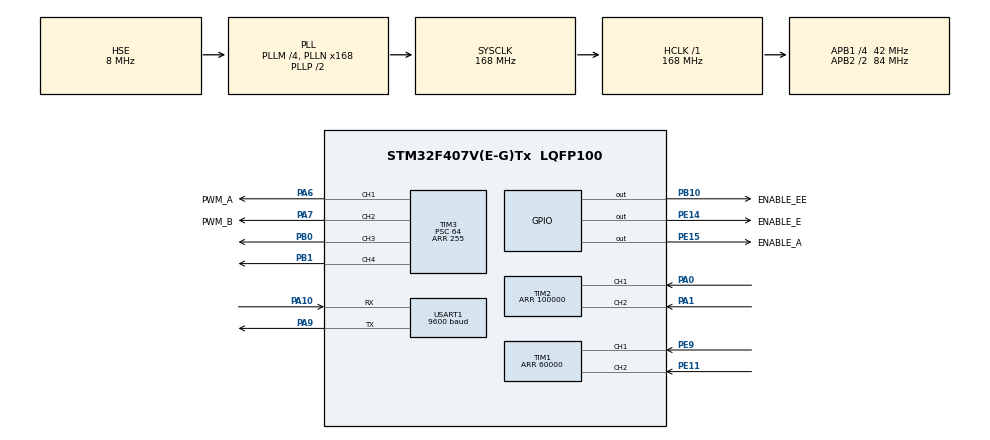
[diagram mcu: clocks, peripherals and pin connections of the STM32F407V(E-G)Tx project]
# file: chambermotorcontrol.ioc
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Mcu.Family=STM32F4
Mcu.Name=STM32F407V(E-G)Tx
Mcu.Package=LQFP100
NVIC.PriorityGroup=NVIC_PRIORITYGROUP_4
NVIC.USART1_IRQn=true\:0\:0\:false\:false\:true\:true\:true\:true
PA0-WKUP.Signal=S_TIM2_CH1_ETR
PA1.Signal=S_TIM2_CH2
PA10.Mode=Asynchronous
PA10.Signal=USART1_RX
PA13.Mode=Serial_Wire
PA13.Signal=SYS_JTMS-SWDIO
PA14.Mode=Serial_Wire
PA14.Signal=SYS_JTCK-SWCLK
PA6.GPIO_Label=PWM_A
PA6.Signal=S_TIM3_CH1
PA7.GPIO_Label=PWM_B
PA7.Signal=S_TIM3_CH2
PA9.Mode=Asynchronous
PA9.Signal=USART1_TX
PB0.Signal=S_TIM3_CH3
PB1.Signal=S_TIM3_CH4
PB10.GPIO_Label=ENABLE_EE
PB10.Signal=GPIO_Output
PE11.Signal=S_TIM1_CH2
PE14.GPIO_Label=ENABLE_E
PE14.Signal=GPIO_Output
PE15.GPIO_Label=ENABLE_A
PE15.Signal=GPIO_Output
PE9.Signal=S_TIM1_CH1
PH0-OSC_IN.Mode=HSE-External-Oscillator
PH0-OSC_IN.Signal=RCC_OSC_IN
PH1-OSC_OUT.Mode=HSE-External-Oscillator
PH1-OSC_OUT.Signal=RCC_OSC_OUT
ProjectManager.HeapSize=0x200
ProjectManager.StackSize=0x400
ProjectManager.TargetToolchain=STM32CubeIDE
RCC.48MHZClocksFreq_Value=48000000
RCC.AHBFreq_Value=168000000
RCC.APB1CLKDivider=RCC_HCLK_DIV4
RCC.APB1Freq_Value=42000000
RCC.APB1TimFreq_Value=84000000
RCC.APB2CLKDivider=RCC_HCLK_DIV2
RCC.APB2Freq_Value=84000000
RCC.APB2TimFreq_Value=168000000
RCC.CortexFreq_Value=168000000
RCC.HCLKFreq_Value=168000000
RCC.HSE_VALUE=8000000
RCC.HSI_VALUE=16000000
RCC.LSE_VALUE=32768
RCC.PLLM=4
RCC.PLLN=168
RCC.PLLQ=7
RCC.PLLSourceVirtual=RCC_PLLSOURCE_HSE
RCC.SYSCLKFreq_VALUE=168000000
RCC.SYSCLKSource=RCC_SYSCLKSOURCE_PLLCLK
RCC.VCOOutputFreq_Value=336000000
SH.S_TIM1_CH1.0=TIM1_CH1,Encoder_Interface
SH.S_TIM1_CH2.0=TIM1_CH2,Encoder_Interface
SH.S_TIM2_CH1_ETR.0=TIM2_CH1,Encoder_Interface
SH.S_TIM2_CH2.0=TIM2_CH2,Encoder_Interface
SH.S_TIM3_CH1.0=TIM3_CH1,PWM Generation1 CH1
SH.S_TIM3_CH2.0=TIM3_CH2,PWM Generation2 CH2
SH.S_TIM3_CH3.0=TIM3_CH3,PWM Generation3 CH3
SH.S_TIM3_CH4.0=TIM3_CH4,PWM Generation4 CH4
TIM1.EncoderMode=TIM_ENCODERMODE_TI12
TIM1.IC1Filter=15
TIM1.IC2Filter=15
TIM1.Period=60000
TIM2.ClockDivision=TIM_CLOCKDIVISION_DIV1
TIM2.EncoderMode=TIM_ENCODERMODE_TI12
TIM2.IC1Filter=15
TIM2.IC2Filter=15
TIM2.Period=100000
TIM3.Channel-PWM\ Generation1\ CH1=TIM_CHANNEL_1
TIM3.Channel-PWM\ Generation2\ CH2=TIM_CHANNEL_2
TIM3.Channel-PWM\ Generation3\ CH3=TIM_CHANNEL_3
TIM3.Channel-PWM\ Generation4\ CH4=TIM_CHANNEL_4
TIM3.Period=255
TIM3.Prescaler=64
USART1.BaudRate=9600
USART1.VirtualMode=VM_ASYNC
VP_TIM3_VS_ClockSourceINT.Mode=Internal
board=custom

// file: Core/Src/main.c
/* USER CODE BEGIN Header */
/**
  ******************************************************************************
  * @file           : main.c
  * @brief          : Main program body
  ******************************************************************************
  * @attention
  *
  * Copyright (c) 2024 STMicroelectronics.
  * All rights reserved.
  *
  * This software is licensed under terms that can be found in the LICENSE file
  * in the root directory of this software component.
  * If no LICENSE file comes with this software, it is provided AS-IS.
  *
  ******************************************************************************
  */
/* USER CODE END Header */
#include "main.h"

/* USER CODE BEGIN Includes */
#include "firmware_version.h"
#include "globalvars.h"
#include <math.h>
#include <stdbool.h>
#include <stdio.h>
#include <string.h>

/* USER CODE END Includes */

TIM_HandleTypeDef htim1;
TIM_HandleTypeDef htim2;
TIM_HandleTypeDef htim3;

UART_HandleTypeDef huart1;

/* USER CODE BEGIN PV */

/** Maximum command payload length before the terminating semicolon. */
enum { RECEIVE_FRAME_CAPACITY = 64 };

/** Motor axis identifiers used by driveAxis(). */
typedef enum
{
    AXIS_PAN = 1,
    AXIS_TILT = 2
} MotorAxis;

/** Direction relative to increasing or decreasing encoder counts. */
typedef enum
{
    DIRECTION_DECREASING,
    DIRECTION_INCREASING
} MotorDirection;

/** Command variants recognized after UART framing removes the semicolon. */
typedef enum
{
    COMMAND_UNKNOWN,
    COMMAND_SET,
    COMMAND_MOV,
    COMMAND_MOV_CNT,
    COMMAND_SET_CNT,
    COMMAND_VERSION,
    COMMAND_CNT
} CommandType;

/** Latest pan encoder sample. */
static uint32_t panPositionCounter = 0;

/** Latest tilt encoder sample. */
static uint32_t tiltPositionCounter = 0;

/** Latest pan position converted from the encoder sample. */
static float panPositionDegrees = 0.0f;

/** Latest tilt position converted from the encoder sample. */
static float tiltPositionDegrees = 0.0f;

/** PWM compare value currently requested for the pan motor. */
static int panPwmPowerLevel = INITIAL_PWM_POWER_LEVEL;

/** PWM compare value currently requested for the tilt motor. */
static int tiltPwmPowerLevel = INITIAL_PWM_POWER_LEVEL;

/** Most recently accepted pan movement command, retained for legacy reporting. */
static float commandedPanDegrees = 0.0f;

/** Most recently accepted tilt movement command, retained for legacy reporting. */
static float commandedTiltDegrees = 0.0f;

/** Active pan target used by the motor controller. */
static float targetPanDegrees = 0.0f;

/** Active tilt target used by the motor controller. */
static float targetTiltDegrees = 0.0f;

/** True while an accepted movement command is active. */
static bool movementActive = false;

/** HAL tick when the current movement command began. */
static uint32_t movementStartedTick = 0U;

/** True when pan is within TARGET_TOLERANCE_DEG of its target. */
static bool panTargetReached = false;

/** True when tilt is within TARGET_TOLERANCE_DEG of its target. */
static bool tiltTargetReached = false;

/** Bytes accumulated for the frame currently arriving over UART. */
static char receiveFrameBuffer[RECEIVE_FRAME_CAPACITY];

/** Completed command plus one byte for its C string terminator. */
static char pendingCommandBuffer[sizeof(receiveFrameBuffer) + 1U];

/** Number of payload bytes currently stored in receiveFrameBuffer. */
static int receiveFrameLength = 0;

/**
 * Command state shared with the UART ISR: 0 for none, 1 for ready, and -1 for
 * an oversized frame. Volatile is required because the ISR changes it.
 */
static volatile int pendingCommandState = 0;

/** Latest byte received by the interrupt-driven UART reader. */
static uint8_t receivedByte = 0;

/** True while ignoring an oversized frame until its terminating semicolon. */
static bool discardingOversizedFrame = false;

/** Number of complete frames rejected because another command was pending. */
static volatile uint32_t rejectedFrameCount = 0;

/** Number of interrupted or oversized frames awaiting a parse-failure NAK. */
static volatile uint32_t unableToParseFrameCount = 0;

/** Generation counter used to invalidate commands copied before a stop byte. */
static volatile uint32_t stopGeneration = 0;

/** Number of emergency-stop acknowledgements awaiting transmission. */
static volatile uint32_t emergencyStopAcknowledgementCount = 0;

/** Previous pan encoder sample used for discontinuity detection. */
static uint32_t previousPanCounter = 0;

/** Previous tilt encoder sample used for discontinuity detection. */
static uint32_t previousTiltCounter = 0;

/** True after the discontinuity detector has captured its first baseline. */
static bool positionDiscontinuityBaselineValid = false;

/** Exact VERSION response assembled from the canonical firmware version. */
static const char firmwareVersionMessage[] = "MSG:VERSION:" FIRMWARE_VERSION ";\r\n";

/** Exact fail-safe report sent after an implausible encoder jump. */
static const char positionDiscontinuityMessage[] = "MSG:ERR:POSITION_DISCONTINUITY;\r\n";

/** Exact fail-safe report sent when movement exceeds its deadline. */
static const char movementTimeoutMessage[] = "MSG:ERR:MOVEMENT_TIMEOUT;\r\n";

/** Exact fail-safe report sent when a commanded axis stops changing. */
static const char movementStalledMessage[] = "MSG:ERR:MOVEMENT_STALLED;\r\n";

/** Pan encoder counter captured by the previous movement-progress check. */
static uint32_t panCounterAtLastMovementCheck = 0U;

/** Tilt encoder counter captured by the previous movement-progress check. */
static uint32_t tiltCounterAtLastMovementCheck = 0U;

/** HAL tick when the next movement-progress check is due. */
static uint32_t nextMovementCheckTick = 0U;
/* USER CODE END PV */

void SystemClock_Config(void);
static void MX_GPIO_Init(void);
static void MX_TIM1_Init(void);
static void MX_TIM2_Init(void);
static void MX_TIM3_Init(void);
static void MX_USART1_UART_Init(void);
/* USER CODE BEGIN PFP */

static void delayMilliseconds(uint32_t milliseconds);
static void enablePanMotor(void);
static void disablePanMotor(void);
static void enableTiltMotor(void);
static void disableTiltMotor(void);
static void sendData(const char *data, int size);
static void sendAcknowledgement(const char *command, bool accepted, const char *reason);
static bool counterChangeExceeds(uint32_t current, uint32_t previous, uint32_t maximumChange);
static float panCounterToDegrees(uint32_t counter);
static uint32_t panDegreesToCounter(float degrees);
static float tiltCounterToDegrees(uint32_t counter);
static uint32_t tiltDegreesToCounter(float degrees);
static bool isAsciiDigit(char character);
static int parseWireNumber(const char *text, float *parsedValue);
static int parseCounterNumber(const char *text, uint32_t *parsedValue);
static bool parseCommandCoordinates(const char *input, const char *expectedPrefix, float *pan, float *tilt);
static bool parseMoveCommand(const char *input, float *pan, float *tilt);
static bool parseSetCommand(const char *input, float *pan, float *tilt);
static bool parseCounterCommand(
        const char *input,
        const char *expectedPrefix,
        uint32_t *panCounter,
        uint32_t *tiltCounter);
static bool commandTokenMatches(const char *input, const char *token);
static CommandType identifyCommandType(const char *input);
static const char *commandTypeName(CommandType commandType);
static void runMainLoopIteration(void);
static void driveAxis(MotorAxis axis, int pwmPowerLevel, MotorDirection direction);
static void updateMotorControl(void);
static void resetMovementStallWatchdog(uint32_t currentTick);

/* USER CODE END PFP */

/* USER CODE BEGIN 0 */

/**
 * @brief Consume one received UART byte and restart interrupt reception.
 *
 * The emergency-stop byte is handled before normal framing so stopping never
 * waits for the main loop. Complete commands remain stable until copied.
 */
void HAL_UART_RxCpltCallback(UART_HandleTypeDef *huart)
{
    (void)huart;

    if (receivedByte == '%')
    {
        if (pendingCommandState == 1 && rejectedFrameCount < UINT32_MAX)
        {
            rejectedFrameCount++;
        }
        if ((pendingCommandState == -1 || receiveFrameLength > 0 || discardingOversizedFrame) &&
                unableToParseFrameCount < UINT32_MAX)
        {
            unableToParseFrameCount++;
        }

        pendingCommandState = 0;
        stopGeneration++;
        if (emergencyStopAcknowledgementCount < UINT32_MAX)
        {
            emergencyStopAcknowledgementCount++;
        }

        movementActive = false;
        receivedByte = 0;
        disablePanMotor();
        disableTiltMotor();

        /* Bytes before a stop must never become part of the next command. */
        receiveFrameLength = 0;
        memset(receiveFrameBuffer, 0, sizeof(receiveFrameBuffer));
        memset(pendingCommandBuffer, 0, sizeof(pendingCommandBuffer));
        discardingOversizedFrame = false;
    }
    else if (discardingOversizedFrame)
    {
        /* An invalid frame remains discarded through its terminating semicolon. */
        if (receivedByte == ';')
        {
            discardingOversizedFrame = false;
            if (pendingCommandState == 0)
            {
                pendingCommandState = -1;
            }
            else if (rejectedFrameCount < UINT32_MAX)
            {
                rejectedFrameCount++;
            }
        }
    }
    else if (receivedByte == ';')
    {
        /* Do not overwrite a complete command before the main loop copies it. */
        if (pendingCommandState == 0)
        {
            memcpy(pendingCommandBuffer, receiveFrameBuffer, (size_t)receiveFrameLength);
            pendingCommandBuffer[receiveFrameLength] = '\0';
            pendingCommandState = 1;
        }
        else if (rejectedFrameCount < UINT32_MAX)
        {
            rejectedFrameCount++;
        }

        receiveFrameLength = 0;
        memset(receiveFrameBuffer, 0, sizeof(receiveFrameBuffer));
    }
    else if (receiveFrameLength >= (int)sizeof(receiveFrameBuffer))
    {
        /* Check before writing so an oversized frame cannot overflow the buffer. */
        receiveFrameLength = 0;
        memset(receiveFrameBuffer, 0, sizeof(receiveFrameBuffer));
        discardingOversizedFrame = true;
    }
    else
    {
        receiveFrameBuffer[receiveFrameLength] = (char)receivedByte;
        receiveFrameLength++;
    }

    receivedByte = 0;
    HAL_UART_Receive_IT(&huart1, &receivedByte, 1);
}

/** @brief Return true only for an ASCII decimal digit. */
static bool isAsciiDigit(char character)
{
    return character >= '0' && character <= '9';
}

/**
 * @brief Parse one canonical signed wire number with exactly three decimals.
 * @return The number of consumed characters, or -1 when malformed.
 */
static int parseWireNumber(const char *text, float *parsedValue)
{
    int index = 0;
    if (text[index] == '-')
    {
        index++;
    }

    int integerStart = index;
    while (isAsciiDigit(text[index]))
    {
        index++;
    }
    if (index == integerStart)
    {
        return -1;
    }

    if (text[index] != '.' ||
            !isAsciiDigit(text[index + 1]) ||
            !isAsciiDigit(text[index + 2]) ||
            !isAsciiDigit(text[index + 3]) ||
            isAsciiDigit(text[index + 4]))
    {
        return -1;
    }
    index += 4;

    float value = 0.0f;
    int convertedLength = 0;
    /* %n records how many characters sscanf consumed while parsing the float. */
    int convertedValueCount = sscanf(text, "%f%n", &value, &convertedLength);
    if (convertedValueCount != 1 || convertedLength != index || !isfinite(value))
    {
        return -1;
    }
    if (text[0] == '-' && value == 0.0f)
    {
        return -1;
    }

   *parsedValue = value;
    return index;
}

/**
 * @brief Parse one canonical unsigned decimal encoder count.
 * @return The number of consumed characters, or -1 when malformed or too large.
 */
static int parseCounterNumber(const char *text, uint32_t *parsedValue)
{
    int index = 0;
    uint32_t value = 0;

    if (!isAsciiDigit(text[index]) ||
            (text[index] == '0' && isAsciiDigit(text[index + 1])))
    {
        return -1;
    }

    while (isAsciiDigit(text[index]))
    {
        uint32_t digit = (uint32_t)(text[index] - '0');
        if (value > (UINT32_MAX - digit) / 10U)
        {
            return -1;
        }

        value = (value * 10U) + digit;
        index++;
    }

   *parsedValue = value;
    return index;
}

/** @brief Parse the two coordinates from a complete MOV or SET command. */
static bool parseCommandCoordinates(
        const char *input,
        const char *expectedPrefix,
        float *pan,
        float *tilt)
{
    size_t prefixLength = strlen(expectedPrefix);
    if (strncmp(input, expectedPrefix, prefixLength) != 0)
    {
        return false;
    }

    const char *coordinateText = input + prefixLength;
    float parsedPan = 0.0f;
    int panLength = parseWireNumber(coordinateText, &parsedPan);
    if (panLength < 0 || coordinateText[panLength] != ',')
    {
        return false;
    }

    const char *tiltText = coordinateText + panLength + 1;
    float parsedTilt = 0.0f;
    int tiltLength = parseWireNumber(tiltText, &parsedTilt);
    if (tiltLength < 0 || tiltText[tiltLength] != '\0')
    {
        return false;
    }

    /* Do not expose partially parsed coordinates after any parse failure. */
   *pan = parsedPan;
   *tilt = parsedTilt;
    return true;
}

/** @brief Parse an exact CMD:MOV coordinate payload. */
static bool parseMoveCommand(const char *input, float *pan, float *tilt)
{
    return parseCommandCoordinates(input, "CMD:MOV:", pan, tilt);
}

/** @brief Parse an exact CMD:SET coordinate payload. */
static bool parseSetCommand(const char *input, float *pan, float *tilt)
{
    return parseCommandCoordinates(input, "CMD:SET:", pan, tilt);
}

/** @brief Parse the exact PAN and TILT fields of a counter command. */
static bool parseCounterCommand(
        const char *input,
        const char *expectedPrefix,
        uint32_t *panCounter,
        uint32_t *tiltCounter)
{
    static const char expectedSeparator[] = ",TILT=";
    size_t prefixLength = strlen(expectedPrefix);

    if (strncmp(input, expectedPrefix, prefixLength) != 0)
    {
        return false;
    }

    const char *counterText = input + prefixLength;
    uint32_t parsedPan = 0;
    int panLength = parseCounterNumber(counterText, &parsedPan);
    if (panLength < 0 ||
            strncmp(counterText + panLength, expectedSeparator,
                            sizeof(expectedSeparator) - 1U) != 0)
    {
        return false;
    }

    const char *tiltText = counterText + panLength + sizeof(expectedSeparator) - 1U;
    uint32_t parsedTilt = 0;
    int tiltLength = parseCounterNumber(tiltText, &parsedTilt);
    if (tiltLength < 0 || tiltText[tiltLength] != '\0')
    {
        return false;
    }

   *panCounter = parsedPan;
   *tiltCounter = parsedTilt;
    return true;
}

/** @brief Return true when a command starts with one exact command token. */
static bool commandTokenMatches(const char *input, const char *token)
{
    static const char commandPrefix[] = "CMD:";
    size_t tokenLength = strlen(token);
    if (strncmp(input, commandPrefix, sizeof(commandPrefix) - 1U) != 0 ||
            strncmp(input + sizeof(commandPrefix) - 1U, token, tokenLength) != 0)
    {
        return false;
    }

    char nextCharacter = input[sizeof(commandPrefix) - 1U + tokenLength];
    return nextCharacter == ':' || nextCharacter == '\0';
}

/** @brief Identify the command token without accepting ambiguous prefixes. */
static CommandType identifyCommandType(const char *input)
{
    if (commandTokenMatches(input, "MOV_CNT"))
    {
        return COMMAND_MOV_CNT;
    }
    if (commandTokenMatches(input, "SET_CNT"))
    {
        return COMMAND_SET_CNT;
    }
    if (commandTokenMatches(input, "VERSION"))
    {
        return COMMAND_VERSION;
    }
    if (commandTokenMatches(input, "SET"))
    {
        return COMMAND_SET;
    }
    if (commandTokenMatches(input, "MOV"))
    {
        return COMMAND_MOV;
    }
    if (commandTokenMatches(input, "CNT"))
    {
        return COMMAND_CNT;
    }
    return COMMAND_UNKNOWN;
}

/** @brief Return the protocol token used in an acknowledgement. */
static const char *commandTypeName(CommandType commandType)
{
    switch (commandType)
    {
        case COMMAND_SET:
            return "SET";
        case COMMAND_MOV:
            return "MOV";
        case COMMAND_MOV_CNT:
            return "MOV_CNT";
        case COMMAND_SET_CNT:
            return "SET_CNT";
        case COMMAND_VERSION:
            return "VERSION";
        case COMMAND_CNT:
            return "CNT";
        default:
            return "UNKNOWN";
    }
}

/** @brief Delay execution for the requested number of milliseconds. */
static void delayMilliseconds(uint32_t milliseconds)
{
    HAL_Delay(milliseconds);
}

/** @brief Energize the pan motor driver. */
static void enablePanMotor(void)
{
    HAL_GPIO_WritePin(GPIOE, ENABLE_A_Pin, GPIO_PIN_SET);
}

/** @brief De-energize pan and clear both pan PWM channels. */
static void disablePanMotor(void)
{
    HAL_GPIO_WritePin(GPIOE, ENABLE_A_Pin, GPIO_PIN_RESET);
    TIM3->CCR1 = 0;
    TIM3->CCR2 = 0;
    panTargetReached = false;
}

/** @brief Energize both tilt motor-driver enable lines. */
static void enableTiltMotor(void)
{
    HAL_GPIO_WritePin(GPIOE, ENABLE_E_Pin, GPIO_PIN_SET);
    HAL_GPIO_WritePin(GPIOB, ENABLE_EE_Pin, GPIO_PIN_SET);
}

/** @brief De-energize tilt and clear both tilt PWM channels. */
static void disableTiltMotor(void)
{
    HAL_GPIO_WritePin(GPIOE, ENABLE_E_Pin, GPIO_PIN_RESET);
    HAL_GPIO_WritePin(GPIOB, ENABLE_EE_Pin, GPIO_PIN_RESET);
    TIM3->CCR4 = 0;
    TIM3->CCR3 = 0;
    tiltTargetReached = false;
}

/** @brief Transmit an exact byte range over the controller UART. */
static void sendData(const char *data, int size)
{
    HAL_UART_Transmit(
            &huart1,
            (uint8_t *)data,
            (uint16_t)size,
            UART_TRANSMIT_TIMEOUT_MS);
}

/** @brief Format and send an ACK or NAK for one command token. */
static void sendAcknowledgement(const char *command, bool accepted, const char *reason)
{
    char acknowledgement[RECEIVE_FRAME_CAPACITY];
    int acknowledgementLength;

    if (accepted)
    {
        acknowledgementLength = snprintf(
                acknowledgement,
                sizeof(acknowledgement),
                "MSG:ACK:%s;\r\n",
                command);
    }
    else
    {
        acknowledgementLength = snprintf(
                acknowledgement,
                sizeof(acknowledgement),
                "MSG:NAK:%s,%s;\r\n",
                command,
                reason);
    }

    if (acknowledgementLength > 0 &&
            acknowledgementLength < (int)sizeof(acknowledgement))
    {
        sendData(acknowledgement, acknowledgementLength);
    }
}

/** @brief Return true when two encoder samples differ by an unsafe amount. */
static bool counterChangeExceeds(
        uint32_t current,
        uint32_t previous,
        uint32_t maximumChange)
{
    uint32_t change = current >= previous ? current - previous : previous - current;
    return change > maximumChange;
}

/** @brief Convert a raw pan encoder count to firmware-relative degrees. */
static float panCounterToDegrees(uint32_t counter)
{
    return ((float)counter - (float)PAN_ZERO_DEGREE_COUNTER) / PAN_COUNTS_PER_DEGREE;
}

/** @brief Convert firmware-relative pan degrees to a raw encoder count. */
static uint32_t panDegreesToCounter(float degrees)
{
    return (uint32_t)((float)PAN_ZERO_DEGREE_COUNTER + (degrees * PAN_COUNTS_PER_DEGREE));
}

/** @brief Convert a raw tilt encoder count to firmware-relative degrees. */
static float tiltCounterToDegrees(uint32_t counter)
{
    return ((float)counter - (float)TILT_ZERO_DEGREE_COUNTER) / TILT_COUNTS_PER_DEGREE;
}

/** @brief Convert firmware-relative tilt degrees to a raw encoder count. */
static uint32_t tiltDegreesToCounter(float degrees)
{
    return (uint32_t)((float)TILT_ZERO_DEGREE_COUNTER + (degrees * TILT_COUNTS_PER_DEGREE));
}

/** @brief Execute one sample, command-processing, and reporting iteration. */
static void runMainLoopIteration(void)
{
    float setPanDegrees = 0.0f;
    float setTiltDegrees = 0.0f;
    char sendBuffer[RECEIVE_FRAME_CAPACITY];
    char commandToProcess[sizeof(pendingCommandBuffer)];
    bool commandAvailable = false;
    bool oversizedCommandAvailable = false;
    bool rejectedFrameAvailable = false;
    bool unableToParseFrameAvailable = false;
    bool emergencyStopAcknowledgementAvailable = false;
    bool positionDiscontinuityDetected = false;
    bool movementTimeoutDetected = false;
    bool movementStallDetected = false;
    uint32_t currentTick = HAL_GetTick();
    uint32_t copiedStopGeneration = 0;

    panPositionCounter = TIM2->CNT;
    tiltPositionCounter = TIM1->CNT;

    /* Any implausible encoder jump during motion immediately fails safe. */
    if (positionDiscontinuityBaselineValid && movementActive &&
            (counterChangeExceeds(
                      panPositionCounter,
                      previousPanCounter,
                      MAX_POSITION_CHANGE_COUNTS) ||
              counterChangeExceeds(
                      tiltPositionCounter,
                      previousTiltCounter,
                      MAX_POSITION_CHANGE_COUNTS)))
    {
        movementActive = false;
        disablePanMotor();
        disableTiltMotor();
        positionDiscontinuityDetected = true;
    }
    previousPanCounter = panPositionCounter;
    previousTiltCounter = tiltPositionCounter;
    positionDiscontinuityBaselineValid = true;

    panPositionDegrees = panCounterToDegrees(panPositionCounter);
    tiltPositionDegrees = tiltCounterToDegrees(tiltPositionCounter);
    bool panShouldMove =
            fabsf(panPositionDegrees - targetPanDegrees) > TARGET_TOLERANCE_DEG;
    bool tiltShouldMove =
            fabsf(tiltPositionDegrees - targetTiltDegrees) > TARGET_TOLERANCE_DEG;
    bool targetReachedAtCurrentSample = !panShouldMove && !tiltShouldMove;

    // Check if there is a stall.
    if (movementActive &&
            (int32_t)(currentTick - nextMovementCheckTick) >= 0)
    {
        bool panStalled = panShouldMove &&
                panPositionCounter == panCounterAtLastMovementCheck;
        bool tiltStalled = tiltShouldMove &&
                tiltPositionCounter == tiltCounterAtLastMovementCheck;

        panCounterAtLastMovementCheck = panPositionCounter;
        tiltCounterAtLastMovementCheck = tiltPositionCounter;
        nextMovementCheckTick = currentTick + MOVEMENT_STALL_CHECK_INTERVAL_MS;

        if (panStalled || tiltStalled)
        {
            movementActive = false;
            disablePanMotor();
            disableTiltMotor();
            movementStallDetected = true;
        }
    }
    delayMilliseconds(MAIN_LOOP_DELAY_MS);

    /* Keep this critical section short so the ISR can resume framing quickly. */
    __disable_irq();
    if (pendingCommandState == 1)
    {
        memcpy(commandToProcess, pendingCommandBuffer, sizeof(commandToProcess));
        pendingCommandState = 0;
        copiedStopGeneration = stopGeneration;
        commandAvailable = true;
    }
    else if (pendingCommandState == -1)
    {
        pendingCommandState = 0;
        oversizedCommandAvailable = true;
    }
    if (rejectedFrameCount > 0)
    {
        rejectedFrameCount--;
        rejectedFrameAvailable = true;
    }
    if (unableToParseFrameCount > 0)
    {
        unableToParseFrameCount--;
        unableToParseFrameAvailable = true;
    }
    if (emergencyStopAcknowledgementCount > 0)
    {
        emergencyStopAcknowledgementCount--;
        emergencyStopAcknowledgementAvailable = true;
    }
    __enable_irq();

    if (oversizedCommandAvailable)
    {
        sendAcknowledgement("UNKNOWN", false, "UNABLE_TO_PARSE");
    }
    if (emergencyStopAcknowledgementAvailable)
    {
        sendAcknowledgement("EMERGENCY_STOP", true, NULL);
    }
    if (rejectedFrameAvailable)
    {
        sendAcknowledgement("UNKNOWN", false, "REJECTED");
    }
    if (unableToParseFrameAvailable)
    {
        sendAcknowledgement("UNKNOWN", false, "UNABLE_TO_PARSE");
    }

    if (commandAvailable)
    {
        /* Parsed values remain local until the complete command can be applied. */
        float requestedPan = 0.0f;
        float requestedTilt = 0.0f;
        uint32_t panCounter = 0;
        uint32_t tiltCounter = 0;
        CommandType commandType = identifyCommandType(commandToProcess);
        bool commandParsed = false;
        bool commandRejected = false;

        switch (commandType)
        {
            case COMMAND_MOV:
                commandParsed = parseMoveCommand(commandToProcess, &requestedPan, &requestedTilt);
                commandRejected = commandParsed &&
                        (requestedPan < MIN_PAN_DEG || requestedPan > MAX_PAN_DEG ||
                          requestedTilt < MIN_TILT_DEG || requestedTilt > MAX_TILT_DEG);
                break;
            case COMMAND_SET:
                commandParsed = parseSetCommand(commandToProcess, &setPanDegrees, &setTiltDegrees);
                commandRejected = commandParsed &&
                        (setPanDegrees < MIN_PAN_DEG || setPanDegrees > MAX_PAN_DEG ||
                          setTiltDegrees < MIN_TILT_DEG || setTiltDegrees > MAX_TILT_DEG);
                break;
            case COMMAND_VERSION:
                commandParsed = strcmp(commandToProcess, "CMD:VERSION") == 0;
                break;
            case COMMAND_CNT:
                commandParsed = strcmp(commandToProcess, "CMD:CNT") == 0;
                break;
            case COMMAND_MOV_CNT:
                commandParsed = parseCounterCommand(
                        commandToProcess,
                        "CMD:MOV_CNT:PAN=",
                        &panCounter,
                        &tiltCounter);
                break;
            case COMMAND_SET_CNT:
                commandParsed = parseCounterCommand(
                        commandToProcess,
                        "CMD:SET_CNT:PAN=",
                        &panCounter,
                        &tiltCounter);
                break;
            default:
                break;
        }

        bool commandCancelled = false;
        bool sendCounterResponse = false;

        /* A stop received during parsing invalidates the copied command. */
        __disable_irq();
        if (copiedStopGeneration != stopGeneration)
        {
            commandCancelled = true;
        }
        else if (!commandParsed || commandRejected)
        {
            movementActive = false;
            disablePanMotor();
            disableTiltMotor();
        }
        else
        {
            switch (commandType)
            {
                case COMMAND_CNT:
                    panCounter = TIM2->CNT;
                    tiltCounter = TIM1->CNT;
                    sendCounterResponse = true;
                    break;
                case COMMAND_SET_CNT:
                    movementActive = false;
                    disablePanMotor();
                    disableTiltMotor();
                    TIM2->CNT = panCounter;
                    TIM1->CNT = tiltCounter;
                    panCounter = TIM2->CNT;
                    tiltCounter = TIM1->CNT;
                    previousPanCounter = panCounter;
                    previousTiltCounter = tiltCounter;
                    positionDiscontinuityBaselineValid = true;
                    sendCounterResponse = true;
                    break;
                case COMMAND_MOV_CNT:
                    requestedPan = panCounterToDegrees(panCounter);
                    requestedTilt = tiltCounterToDegrees(tiltCounter);
                    /* fall through */
                case COMMAND_MOV:
                {
                    bool movementTargetChanged = !movementActive ||
                            requestedPan != targetPanDegrees ||
                            requestedTilt != targetTiltDegrees;
                    commandedPanDegrees = requestedPan;
                    commandedTiltDegrees = requestedTilt;
                    panTargetReached = false;
                    tiltTargetReached = false;
                    movementActive = true;
                    targetPanDegrees = commandedPanDegrees;
                    targetTiltDegrees = commandedTiltDegrees;
                    panPwmPowerLevel = MAX_PWM_POWER_LEVEL;
                    tiltPwmPowerLevel = MAX_PWM_POWER_LEVEL;
                    if (movementTargetChanged)
                    {
                        movementStartedTick = currentTick;
                        resetMovementStallWatchdog(currentTick);
                    }
                    break;
                }
                case COMMAND_SET:
                    movementActive = false;
                    TIM1->CNT = tiltDegreesToCounter(setTiltDegrees);
                    TIM2->CNT = panDegreesToCounter(setPanDegrees);
                    previousPanCounter = TIM2->CNT;
                    previousTiltCounter = TIM1->CNT;
                    positionDiscontinuityBaselineValid = true;
                    break;
                default:
                    break;
            }
        }
        __enable_irq();

        bool commandAccepted = !commandCancelled && commandParsed && !commandRejected;
        if (commandAccepted)
        {
            sendAcknowledgement(commandTypeName(commandType), true, NULL);
        }
        else
        {
            const char *reason = commandRejected
                    ? "OUT_OF_BOUNDS"
                    : (commandCancelled ? "REJECTED" : "UNABLE_TO_PARSE");
            sendAcknowledgement(commandTypeName(commandType), false, reason);
        }

        if (commandAccepted && sendCounterResponse)
        {
            int counterMessageLength = snprintf(
                    sendBuffer,
                    sizeof(sendBuffer),
                    "MSG:CNT:PAN=%lu,TILT=%lu;\r\n",
                    (unsigned long)panCounter,
                    (unsigned long)tiltCounter);
            if (counterMessageLength > 0 && counterMessageLength < (int)sizeof(sendBuffer))
            {
                sendData(sendBuffer, counterMessageLength);
            }
        }
        else if (commandAccepted && commandType == COMMAND_VERSION)
        {
            sendData(firmwareVersionMessage, (int)sizeof(firmwareVersionMessage) - 1);
        }
        else if (commandAccepted &&
                          (commandType == COMMAND_MOV ||
                            commandType == COMMAND_MOV_CNT ||
                            commandType == COMMAND_SET))
        {
            int commandMessageLength = snprintf(
                    sendBuffer,
                    sizeof(sendBuffer),
                    "%.2f , %.2f \r\n",
                    commandedPanDegrees,
                    commandedTiltDegrees);
            if (commandMessageLength > 0 && commandMessageLength < (int)sizeof(sendBuffer))
            {
                sendData(sendBuffer, commandMessageLength);
            }
        }
    }

    /* A newly accepted MOV changes the target after the position was sampled. */
    panShouldMove =
            fabsf(panPositionDegrees - targetPanDegrees) > TARGET_TOLERANCE_DEG;
    tiltShouldMove =
            fabsf(tiltPositionDegrees - targetTiltDegrees) > TARGET_TOLERANCE_DEG;
    targetReachedAtCurrentSample = !panShouldMove && !tiltShouldMove;

    if (positionDiscontinuityDetected)
    {
        /* A command received in this loop must not restart motion after the fault. */
        movementActive = false;
        disablePanMotor();
        disableTiltMotor();
        sendData(
                positionDiscontinuityMessage,
                (int)sizeof(positionDiscontinuityMessage) - 1);
    }

    if (movementActive && !targetReachedAtCurrentSample &&
            (uint32_t)(currentTick - movementStartedTick) >= MOVEMENT_TIMEOUT_MS)
    {
        movementActive = false;
        disablePanMotor();
        disableTiltMotor();
        movementTimeoutDetected = true;
    }

    if (movementTimeoutDetected)
    {
        sendData(
                movementTimeoutMessage,
                (int)sizeof(movementTimeoutMessage) - 1);
    }

    if (movementStallDetected)
    {
        /* A command received in this loop must not restart motion after the fault. */
        movementActive = false;
        disablePanMotor();
        disableTiltMotor();
        sendData(
                movementStalledMessage,
                (int)sizeof(movementStalledMessage) - 1);
    }

    if (movementActive && !targetReachedAtCurrentSample)
    {
        updateMotorControl();
    }
    else
    {
        movementActive = false;
        disablePanMotor();
        disableTiltMotor();
    }

    int positionMessageLength = snprintf(
            sendBuffer,
            sizeof(sendBuffer),
            "MSG:POS:PAN=%.3f,TILT=%.3f\r\n",
            panPositionDegrees,
            tiltPositionDegrees);
    if (positionMessageLength > 0 && positionMessageLength < (int)sizeof(sendBuffer))
    {
        sendData(sendBuffer, positionMessageLength);
    }
}

/**
 * @brief Drive one motor axis in the requested encoder-count direction.
 *
 * TIM3 channels 1/2 drive pan in opposite directions; channels 3/4 do the
 * same for tilt. Disabling the axis before changing compare registers avoids
 * briefly energizing both directions at once.
 */
static void driveAxis(MotorAxis axis, int pwmPowerLevel, MotorDirection direction)
{
    if (axis == AXIS_PAN)
    {
        disablePanMotor();
        if (direction == DIRECTION_INCREASING)
        {
            TIM3->CCR2 = 0;
            TIM3->CCR1 = pwmPowerLevel;
        }
        else
        {
            TIM3->CCR1 = 0;
            TIM3->CCR2 = pwmPowerLevel;
        }
        enablePanMotor();
    }
    else if (axis == AXIS_TILT)
    {
        disableTiltMotor();
        if (direction == DIRECTION_INCREASING)
        {
            TIM3->CCR3 = pwmPowerLevel;
            TIM3->CCR4 = 0;
        }
        else
        {
            TIM3->CCR4 = pwmPowerLevel;
            TIM3->CCR3 = 0;
        }
        enableTiltMotor();
    }
    else
    {
        /* An invalid axis request fails safe by disabling both motors. */
        disableTiltMotor();
        disablePanMotor();
    }
}

/** @brief Update both motor outputs from the current position errors. */
static void updateMotorControl(void)
{
    float panDeviation = fabsf(panPositionDegrees - targetPanDegrees);
    float tiltDeviation = fabsf(tiltPositionDegrees - targetTiltDegrees);

    /* Reduce PWM near each target while retaining full power for long slews. */
    if (panPositionDegrees > targetPanDegrees - PAN_PWM_CONTROL_WINDOW_DEG &&
            panPositionDegrees < targetPanDegrees + PAN_PWM_CONTROL_WINDOW_DEG)
    {
        panPwmPowerLevel = (int)(panDeviation * PAN_PWM_COEFFICIENT + PAN_PWM_INTERCEPT);
    }
    else
    {
        panPwmPowerLevel = MAX_PWM_POWER_LEVEL;
    }

    if (tiltPositionDegrees > targetTiltDegrees - TILT_PWM_CONTROL_WINDOW_DEG &&
            tiltPositionDegrees < targetTiltDegrees + TILT_PWM_CONTROL_WINDOW_DEG)
    {
        tiltPwmPowerLevel = (int)(tiltDeviation * TILT_PWM_COEFFICIENT + TILT_PWM_INTERCEPT);
    }
    else
    {
        tiltPwmPowerLevel = MAX_PWM_POWER_LEVEL;
    }

    if (panPositionDegrees < targetPanDegrees - TARGET_TOLERANCE_DEG)
    {
        driveAxis(AXIS_PAN, panPwmPowerLevel, DIRECTION_INCREASING);
        panTargetReached = false;
    }
    else if (panPositionDegrees > targetPanDegrees + TARGET_TOLERANCE_DEG)
    {
        driveAxis(AXIS_PAN, panPwmPowerLevel, DIRECTION_DECREASING);
        panTargetReached = false;
    }
    else
    {
        disablePanMotor();
        panTargetReached = true;
    }

    if (tiltPositionDegrees < targetTiltDegrees - TARGET_TOLERANCE_DEG)
    {
        driveAxis(AXIS_TILT, tiltPwmPowerLevel, DIRECTION_INCREASING);
        tiltTargetReached = false;
    }
    else if (tiltPositionDegrees > targetTiltDegrees + TARGET_TOLERANCE_DEG)
    {
        driveAxis(AXIS_TILT, tiltPwmPowerLevel, DIRECTION_DECREASING);
        tiltTargetReached = false;
    }
    else
    {
        disableTiltMotor();
        tiltTargetReached = true;
    }
}

/** @brief Start both per-axis movement-stall timers from current counters. */
static void resetMovementStallWatchdog(uint32_t currentTick)
{
    panCounterAtLastMovementCheck = TIM2->CNT;
    tiltCounterAtLastMovementCheck = TIM1->CNT;
    nextMovementCheckTick = currentTick + MOVEMENT_STALL_CHECK_INTERVAL_MS;
}

/* USER CODE END 0 */

int main(void)
{

  /* MCU Configuration--------------------------------------------------------*/

  /* Reset of all peripherals, Initializes the Flash interface and the Systick. */
  HAL_Init();

  /* Configure the system clock */
  SystemClock_Config();

  /* Initialize all configured peripherals */
  MX_GPIO_Init();
  MX_TIM1_Init();
  MX_TIM2_Init();
  MX_TIM3_Init();
  MX_USART1_UART_Init();
  /* USER CODE BEGIN 2 */

    TIM3->CCR1 = 0;
    TIM3->CCR2 = 0;
    HAL_TIM_PWM_Start(&htim3, TIM_CHANNEL_1);
    HAL_TIM_PWM_Start(&htim3, TIM_CHANNEL_2);
    HAL_TIM_PWM_Start(&htim3, TIM_CHANNEL_3);
    HAL_TIM_PWM_Start(&htim3, TIM_CHANNEL_4);

    HAL_UART_Receive_IT(&huart1, &receivedByte, 1);
    HAL_TIM_Encoder_Start(&htim2, TIM_CHANNEL_ALL);
    HAL_TIM_Encoder_Start(&htim1, TIM_CHANNEL_ALL);

    disableTiltMotor();
    disablePanMotor();
  /* USER CODE END 2 */

  /* Infinite loop */
  while (1)
  {

    /* USER CODE BEGIN 3 */

    runMainLoopIteration();

  }
  /* USER CODE END 3 */
}

void SystemClock_Config(void)
{
  RCC_OscInitTypeDef RCC_OscInitStruct = {0};
  RCC_ClkInitTypeDef RCC_ClkInitStruct = {0};

  /** Configure the main internal regulator output voltage
  */
  __HAL_RCC_PWR_CLK_ENABLE();
  __HAL_PWR_VOLTAGESCALING_CONFIG(PWR_REGULATOR_VOLTAGE_SCALE1);

  /** Initializes the RCC Oscillators according to the specified parameters
  * in the RCC_OscInitTypeDef structure.
  */
  RCC_OscInitStruct.OscillatorType = RCC_OSCILLATORTYPE_HSE;
  RCC_OscInitStruct.HSEState = RCC_HSE_ON;
  RCC_OscInitStruct.PLL.PLLState = RCC_PLL_ON;
  RCC_OscInitStruct.PLL.PLLSource = RCC_PLLSOURCE_HSE;
  RCC_OscInitStruct.PLL.PLLM = 4;
  RCC_OscInitStruct.PLL.PLLN = 168;
  RCC_OscInitStruct.PLL.PLLP = RCC_PLLP_DIV2;
  RCC_OscInitStruct.PLL.PLLQ = 7;
  if (HAL_RCC_OscConfig(&RCC_OscInitStruct) != HAL_OK)
  {
    Error_Handler();
  }

  /** Initializes the CPU, AHB and APB buses clocks
  */
  RCC_ClkInitStruct.ClockType = RCC_CLOCKTYPE_HCLK|RCC_CLOCKTYPE_SYSCLK
                              |RCC_CLOCKTYPE_PCLK1|RCC_CLOCKTYPE_PCLK2;
  RCC_ClkInitStruct.SYSCLKSource = RCC_SYSCLKSOURCE_PLLCLK;
  RCC_ClkInitStruct.AHBCLKDivider = RCC_SYSCLK_DIV1;
  RCC_ClkInitStruct.APB1CLKDivider = RCC_HCLK_DIV4;
  RCC_ClkInitStruct.APB2CLKDivider = RCC_HCLK_DIV2;

  if (HAL_RCC_ClockConfig(&RCC_ClkInitStruct, FLASH_LATENCY_5) != HAL_OK)
  {
    Error_Handler();
  }
}

static void MX_TIM1_Init(void)
{

  TIM_Encoder_InitTypeDef sConfig = {0};
  TIM_MasterConfigTypeDef sMasterConfig = {0};

  htim1.Instance = TIM1;
  htim1.Init.Prescaler = 0;
  htim1.Init.CounterMode = TIM_COUNTERMODE_UP;
  htim1.Init.Period = 60000;
  htim1.Init.ClockDivision = TIM_CLOCKDIVISION_DIV1;
  htim1.Init.RepetitionCounter = 0;
  htim1.Init.AutoReloadPreload = TIM_AUTORELOAD_PRELOAD_DISABLE;
  sConfig.EncoderMode = TIM_ENCODERMODE_TI12;
  sConfig.IC1Polarity = TIM_ICPOLARITY_RISING;
  sConfig.IC1Selection = TIM_ICSELECTION_DIRECTTI;
  sConfig.IC1Prescaler = TIM_ICPSC_DIV1;
  sConfig.IC1Filter = 15;
  sConfig.IC2Polarity = TIM_ICPOLARITY_RISING;
  sConfig.IC2Selection = TIM_ICSELECTION_DIRECTTI;
  sConfig.IC2Prescaler = TIM_ICPSC_DIV1;
  sConfig.IC2Filter = 15;
  if (HAL_TIM_Encoder_Init(&htim1, &sConfig) != HAL_OK)
  {
    Error_Handler();
  }
  sMasterConfig.MasterOutputTrigger = TIM_TRGO_RESET;
  sMasterConfig.MasterSlaveMode = TIM_MASTERSLAVEMODE_DISABLE;
  if (HAL_TIMEx_MasterConfigSynchronization(&htim1, &sMasterConfig) != HAL_OK)
  {
    Error_Handler();
  }

}

static void MX_TIM2_Init(void)
{

  TIM_Encoder_InitTypeDef sConfig = {0};
  TIM_MasterConfigTypeDef sMasterConfig = {0};

  htim2.Instance = TIM2;
  htim2.Init.Prescaler = 0;
  htim2.Init.CounterMode = TIM_COUNTERMODE_UP;
  htim2.Init.Period = 100000;
  htim2.Init.ClockDivision = TIM_CLOCKDIVISION_DIV1;
  htim2.Init.AutoReloadPreload = TIM_AUTORELOAD_PRELOAD_DISABLE;
  sConfig.EncoderMode = TIM_ENCODERMODE_TI12;
  sConfig.IC1Polarity = TIM_ICPOLARITY_RISING;
  sConfig.IC1Selection = TIM_ICSELECTION_DIRECTTI;
  sConfig.IC1Prescaler = TIM_ICPSC_DIV1;
  sConfig.IC1Filter = 15;
  sConfig.IC2Polarity = TIM_ICPOLARITY_RISING;
  sConfig.IC2Selection = TIM_ICSELECTION_DIRECTTI;
  sConfig.IC2Prescaler = TIM_ICPSC_DIV1;
  sConfig.IC2Filter = 15;
  if (HAL_TIM_Encoder_Init(&htim2, &sConfig) != HAL_OK)
  {
    Error_Handler();
  }
  sMasterConfig.MasterOutputTrigger = TIM_TRGO_RESET;
  sMasterConfig.MasterSlaveMode = TIM_MASTERSLAVEMODE_DISABLE;
  if (HAL_TIMEx_MasterConfigSynchronization(&htim2, &sMasterConfig) != HAL_OK)
  {
    Error_Handler();
  }

}

static void MX_TIM3_Init(void)
{

  TIM_ClockConfigTypeDef sClockSourceConfig = {0};
  TIM_MasterConfigTypeDef sMasterConfig = {0};
  TIM_OC_InitTypeDef sConfigOC = {0};

  htim3.Instance = TIM3;
  htim3.Init.Prescaler = 64;
  htim3.Init.CounterMode = TIM_COUNTERMODE_UP;
  htim3.Init.Period = 255;
  htim3.Init.ClockDivision = TIM_CLOCKDIVISION_DIV1;
  htim3.Init.AutoReloadPreload = TIM_AUTORELOAD_PRELOAD_DISABLE;
  if (HAL_TIM_Base_Init(&htim3) != HAL_OK)
  {
    Error_Handler();
  }
  sClockSourceConfig.ClockSource = TIM_CLOCKSOURCE_INTERNAL;
  if (HAL_TIM_ConfigClockSource(&htim3, &sClockSourceConfig) != HAL_OK)
  {
    Error_Handler();
  }
  if (HAL_TIM_PWM_Init(&htim3) != HAL_OK)
  {
    Error_Handler();
  }
  sMasterConfig.MasterOutputTrigger = TIM_TRGO_RESET;
  sMasterConfig.MasterSlaveMode = TIM_MASTERSLAVEMODE_DISABLE;
  if (HAL_TIMEx_MasterConfigSynchronization(&htim3, &sMasterConfig) != HAL_OK)
  {
    Error_Handler();
  }
  sConfigOC.OCMode = TIM_OCMODE_PWM1;
  sConfigOC.Pulse = 0;
  sConfigOC.OCPolarity = TIM_OCPOLARITY_HIGH;
  sConfigOC.OCFastMode = TIM_OCFAST_DISABLE;
  if (HAL_TIM_PWM_ConfigChannel(&htim3, &sConfigOC, TIM_CHANNEL_1) != HAL_OK)
  {
    Error_Handler();
  }
  if (HAL_TIM_PWM_ConfigChannel(&htim3, &sConfigOC, TIM_CHANNEL_2) != HAL_OK)
  {
    Error_Handler();
  }
  if (HAL_TIM_PWM_ConfigChannel(&htim3, &sConfigOC, TIM_CHANNEL_3) != HAL_OK)
  {
    Error_Handler();
  }
  if (HAL_TIM_PWM_ConfigChannel(&htim3, &sConfigOC, TIM_CHANNEL_4) != HAL_OK)
  {
    Error_Handler();
  }
  HAL_TIM_MspPostInit(&htim3);

}

static void MX_USART1_UART_Init(void)
{

  huart1.Instance = USART1;
  huart1.Init.BaudRate = 9600;
  huart1.Init.WordLength = UART_WORDLENGTH_8B;
  huart1.Init.StopBits = UART_STOPBITS_1;
  huart1.Init.Parity = UART_PARITY_NONE;
  huart1.Init.Mode = UART_MODE_TX_RX;
  huart1.Init.HwFlowCtl = UART_HWCONTROL_NONE;
  huart1.Init.OverSampling = UART_OVERSAMPLING_16;
  if (HAL_UART_Init(&huart1) != HAL_OK)
  {
    Error_Handler();
  }

}

static void MX_GPIO_Init(void)
{
  GPIO_InitTypeDef GPIO_InitStruct = {0};

  /* GPIO Ports Clock Enable */
  __HAL_RCC_GPIOH_CLK_ENABLE();
  __HAL_RCC_GPIOA_CLK_ENABLE();
  __HAL_RCC_GPIOB_CLK_ENABLE();
  __HAL_RCC_GPIOE_CLK_ENABLE();

  /*Configure GPIO pin Output Level */
  HAL_GPIO_WritePin(GPIOE, ENABLE_E_Pin|ENABLE_A_Pin, GPIO_PIN_RESET);

  /*Configure GPIO pin Output Level */
  HAL_GPIO_WritePin(ENABLE_EE_GPIO_Port, ENABLE_EE_Pin, GPIO_PIN_RESET);

  /*Configure GPIO pins : ENABLE_E_Pin ENABLE_A_Pin */
  GPIO_InitStruct.Pin = ENABLE_E_Pin|ENABLE_A_Pin;
  GPIO_InitStruct.Mode = GPIO_MODE_OUTPUT_PP;
  GPIO_InitStruct.Pull = GPIO_NOPULL;
  GPIO_InitStruct.Speed = GPIO_SPEED_FREQ_LOW;
  HAL_GPIO_Init(GPIOE, &GPIO_InitStruct);

  /*Configure GPIO pin : ENABLE_EE_Pin */
  GPIO_InitStruct.Pin = ENABLE_EE_Pin;
  GPIO_InitStruct.Mode = GPIO_MODE_OUTPUT_PP;
  GPIO_InitStruct.Pull = GPIO_NOPULL;
  GPIO_InitStruct.Speed = GPIO_SPEED_FREQ_LOW;
  HAL_GPIO_Init(ENABLE_EE_GPIO_Port, &GPIO_InitStruct);

}

void Error_Handler(void)
{
  __disable_irq();
  while (1)
  {
  }
}
